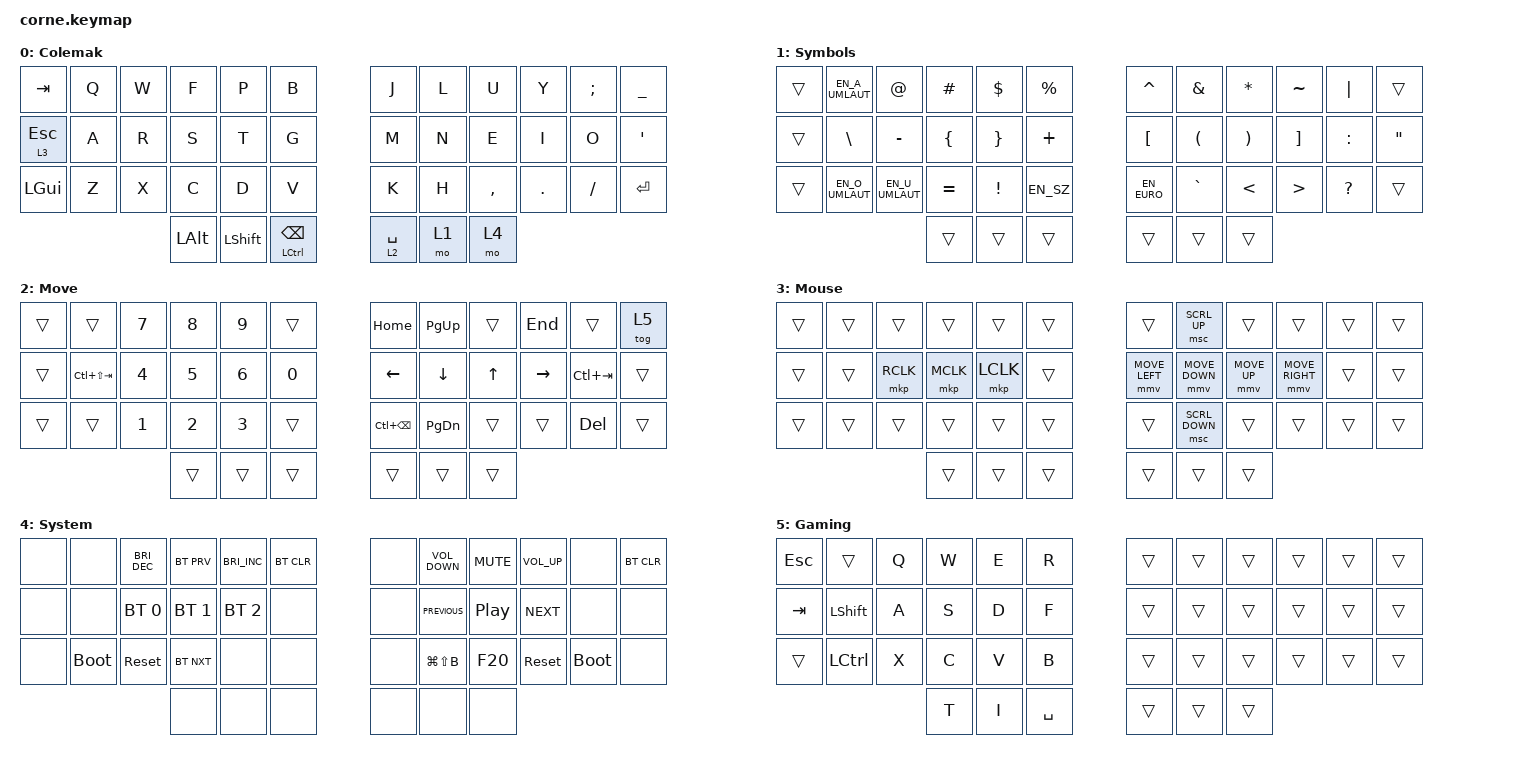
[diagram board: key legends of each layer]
#include <locale/keys_us_international.h>
#include <behaviors.dtsi>
#include <dt-bindings/zmk/bt.h>
#include <dt-bindings/zmk/keys.h>
#include <dt-bindings/zmk/pointing.h>

// Linux XKB maps F20 to XF86AudioMicMute.
#define MIC_MUTE F20

&mt {
    tapping-term-ms = <200>;
    flavor = "balanced";
};

&lt { flavor = "balanced"; };

/ {
    keymap {
        compatible = "zmk,keymap";

        colemak {
            display-name = "Colemak";
            bindings = <
&kp TAB    &kp Q  &kp W  &kp F         &kp P       &kp B                  &kp J        &kp L  &kp U      &kp Y    &kp SEMI  &kp UNDERSCORE
&lt 3 ESC  &kp A  &kp R  &kp S         &kp T       &kp G                  &kp M        &kp N  &kp E      &kp I    &kp O     &kp SQT
&kp LGUI   &kp Z  &kp X  &kp C         &kp D       &kp V                  &kp K        &kp H  &kp COMMA  &kp DOT  &kp FSLH  &kp RET
                         &kp LEFT_ALT  &kp LSHIFT  &mt LCTRL BACKSPACE    &lt 2 SPACE  &mo 1  &mo 4
            >;
        };

        symbols {
            display-name = "Symbols";
            bindings = <
&trans  &kp EN_A_UMLAUT  &kp AT           &kp HASH        &kp DOLLAR       &kp PERCENT    &kp CARET         &kp AMPERSAND         &kp ASTERISK           &kp TILDE          &kp PIPE      &trans
&trans  &kp BACKSLASH    &kp MINUS        &kp LEFT_BRACE  &kp RIGHT_BRACE  &kp PLUS       &kp LEFT_BRACKET  &kp LEFT_PARENTHESIS  &kp RIGHT_PARENTHESIS  &kp RIGHT_BRACKET  &kp COLON     &kp DOUBLE_QUOTES
&trans  &kp EN_O_UMLAUT  &kp EN_U_UMLAUT  &kp EQUAL       &kp EXCLAMATION  &kp EN_SZ      &kp EN_EURO       &kp GRAVE             &kp LESS_THAN          &kp GREATER_THAN   &kp QUESTION  &trans
                                          &trans          &trans           &trans         &trans            &trans                &trans
            >;
        };

        movement {
            display-name = "Move";
            bindings = <
&trans  &trans           &kp N7  &kp N8  &kp N9  &trans    &kp HOME           &kp PAGE_UP    &trans  &kp END    &trans       &tog 5
&trans  &kp LC(LS(TAB))  &kp N4  &kp N5  &kp N6  &kp N0    &kp LEFT           &kp DOWN       &kp UP  &kp RIGHT  &kp LC(TAB)  &trans
&trans  &trans           &kp N1  &kp N2  &kp N3  &trans    &kp LC(BACKSPACE)  &kp PAGE_DOWN  &trans  &trans     &kp DELETE   &trans
                                 &trans  &trans  &trans    &trans             &trans         &trans
            >;
        };

        mouse {
            display-name = "Mouse";
            bindings = <
&trans  &trans  &trans     &trans     &trans     &trans    &trans          &msc SCRL_UP    &trans        &trans           &trans  &trans
&trans  &trans  &mkp RCLK  &mkp MCLK  &mkp LCLK  &trans    &mmv MOVE_LEFT  &mmv MOVE_DOWN  &mmv MOVE_UP  &mmv MOVE_RIGHT  &trans  &trans
&trans  &trans  &trans     &trans     &trans     &trans    &trans          &msc SCRL_DOWN  &trans        &trans           &trans  &trans
                           &trans     &trans     &trans    &trans          &trans          &trans
            >;
        };

        system {
            display-name = "System";
            bindings = <
&none  &none        &kp C_BRIGHTNESS_DEC  &bt BT_PRV    &kp C_BRIGHTNESS_INC  &bt BT_CLR    &none  &kp C_VOLUME_DOWN  &kp C_MUTE        &kp C_VOLUME_UP  &none        &bt BT_CLR
&none  &none        &bt BT_SEL 0          &bt BT_SEL 1  &bt BT_SEL 2          &none         &none  &kp C_PREVIOUS     &kp C_PLAY_PAUSE  &kp C_NEXT       &none        &none
&none  &bootloader  &sys_reset            &bt BT_NXT    &none                 &none         &none  &kp LG(LS(B))      &kp MIC_MUTE      &sys_reset       &bootloader  &none
                                          &none         &none                 &none         &none  &none              &none
            >;
        };

        gaming {
            display-name = "Gaming";
            bindings = <
&kp ESC  &trans     &kp Q  &kp W  &kp E  &kp R        &trans  &trans  &trans  &trans  &trans  &trans
&kp TAB  &kp LSHFT  &kp A  &kp S  &kp D  &kp F        &trans  &trans  &trans  &trans  &trans  &trans
&trans   &kp LCTRL  &kp X  &kp C  &kp V  &kp B        &trans  &trans  &trans  &trans  &trans  &trans
                           &kp T  &kp I  &kp SPACE    &trans  &trans  &trans
            >;
        };
    };
};
